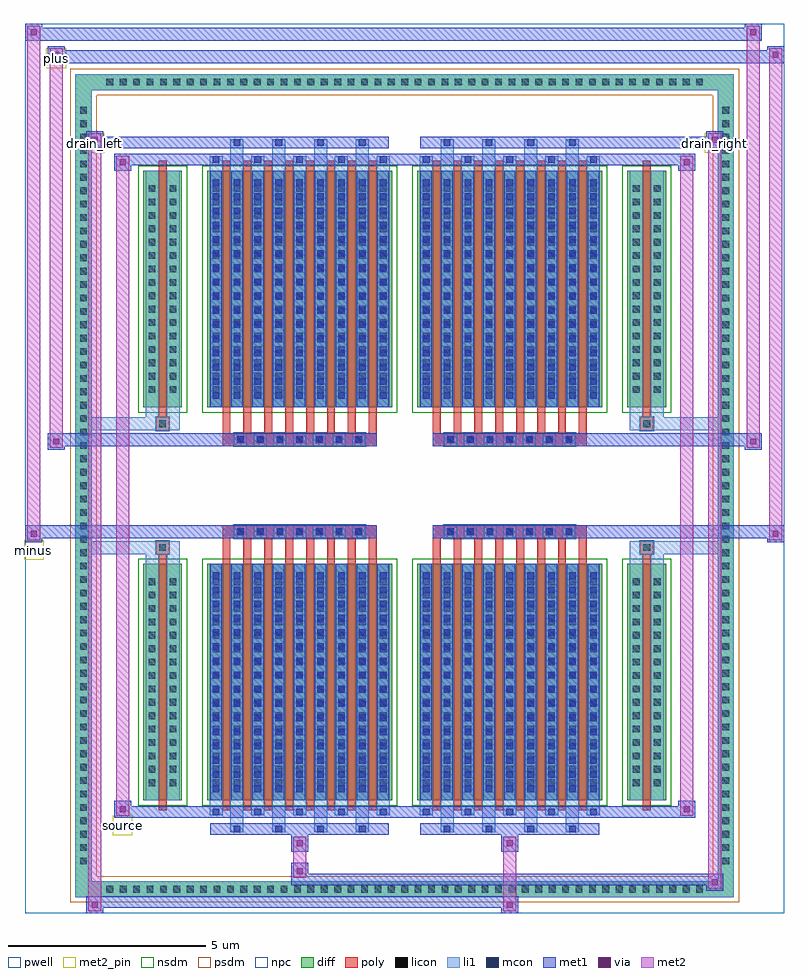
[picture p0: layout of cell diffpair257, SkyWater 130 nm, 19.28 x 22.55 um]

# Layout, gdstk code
import gdstk
lib = gdstk.Library(unit=1e-6, precision=5e-09)
def R(c, l, rs):  # rectangles x0, y0, x1, y1
    for r in rs: c.add(gdstk.rectangle(r[:2], r[2:], *l))
def A(c, l, x, y, w, h, nx, ny, dx, dy):  # array of equal rectangles
    R(c, l, [(x+i*dx, y+j*dy, x+i*dx+w, y+j*dy+h) for i in range(nx) for j in range(ny)])
def P(c, l, *ps):  # polygons
    for p in ps: c.add(gdstk.Polygon(p, *l))
pwell = (64, 44)
diff = (65, 20)
poly = (66, 20)
licon = (66, 44)
li1 = (67, 20)
mcon = (67, 44)
met1 = (68, 20)
via = (68, 44)
met2_pin = (69, 16)
met2 = (69, 20)
nsdm = (93, 44)
psdm = (94, 20)
npc = (95, 20)

diffpair257 = lib.new_cell('diffpair257')
R(diffpair257, pwell, [(-9.62,-10.84,9.62,11.71), (-6.94,-9.03,-0.01,-0.805), (0.01,-9.03,6.94,-0.805), (-6.94,0.805,-0.01,9.03), (0.01,0.805,6.94,9.03)])
A(diffpair257, diff, -7.685, -10.44, 0.41, 0.41, 45, 2, 0.34, 20.47)
A(diffpair257, diff, -8.35, -9.725, 0.41, 0.41, 1, 57, 0, 0.34)
A(diffpair257, diff, 7.94, -9.725, 0.41, 0.41, 1, 57, 0, 0.34)
R(diffpair257, diff, [(-7.685,-10.44,7.685,-10.03), (-8.35,-9.725,-7.94,9.725), (7.94,-9.725,8.35,9.725), (-6.63,-7.985,-5.65,-1.985), (-5.01,-7.985,-0.32,-1.985), (0.32,-7.985,5.01,-1.985), (5.65,-7.985,6.63,-1.985), (-6.63,1.985,-5.65,7.985), (-5.01,1.985,-0.32,7.985), (0.32,1.985,5.01,7.985), (5.65,1.985,6.63,7.985), (-7.685,10.03,7.685,10.44)])
P(diffpair257, diff, [(8.35,10.44),(-8.35,10.44),(-8.35,-10.03),(-7.94,-10.03),(-7.94,10.03),(7.94,10.03),(7.94,-10.03),(-7.94,-10.03),(-8.35,-10.03),(-8.35,-10.44),(8.35,-10.44)])
A(diffpair257, poly, -4.62, -8.235, 0.2, 6.5, 8, 2, 0.53, 9.97)
A(diffpair257, poly, 0.71, -8.235, 0.2, 6.5, 8, 2, 0.53, 9.97)
A(diffpair257, poly, -4.62, -1.735, 0.2, 0.4, 8, 2, 0.53, 3.07)
A(diffpair257, poly, 0.71, -1.735, 0.2, 0.4, 8, 2, 0.53, 3.07)
A(diffpair257, poly, -4.33, -1.335, 0.33, 0.33, 7, 2, 0.5, 2.34)
A(diffpair257, poly, 1, -1.335, 0.33, 0.33, 7, 2, 0.5, 2.34)
R(diffpair257, poly, [(-6.24,-8.235,-6.04,-1.735), (6.04,-8.235,6.24,-1.735), (-6.305,-1.735,-5.975,-1.405), (-6.305,-1.735,-5.975,-1.405), (5.975,-1.735,6.305,-1.405), (5.975,-1.735,6.305,-1.405), (-4.62,-1.335,-0.71,-1.005), (0.71,-1.335,4.62,-1.005), (-4.62,1.005,-0.71,1.335), (0.71,1.005,4.62,1.335), (-6.305,1.405,-5.975,1.735), (-6.305,1.405,-5.975,1.735), (5.975,1.405,6.305,1.735), (5.975,1.405,6.305,1.735), (-6.24,1.735,-6.04,8.235), (6.04,1.735,6.24,8.235)])
A(diffpair257, licon, -7.565, -10.32, 0.17, 0.17, 45, 2, 0.34, 20.47)
A(diffpair257, licon, -8.23, -9.605, 0.17, 0.17, 1, 57, 0, 0.34)
A(diffpair257, licon, 8.06, -9.605, 0.17, 0.17, 1, 57, 0, 0.34)
A(diffpair257, licon, -6.49, -7.62, 0.17, 0.17, 1, 16, 0, 0.34)
A(diffpair257, licon, -5.96, -7.62, 0.17, 0.17, 1, 16, 0, 0.34)
A(diffpair257, licon, -4.87, -7.62, 0.17, 0.17, 9, 16, 0.53, 0.34)
A(diffpair257, licon, 0.46, -7.62, 0.17, 0.17, 9, 16, 0.53, 0.34)
A(diffpair257, licon, 5.79, -7.62, 0.17, 0.17, 1, 16, 0, 0.34)
A(diffpair257, licon, 6.32, -7.62, 0.17, 0.17, 1, 16, 0, 0.34)
A(diffpair257, licon, -4.25, -1.255, 0.17, 0.17, 7, 2, 0.5, 2.34)
A(diffpair257, licon, 1.08, -1.255, 0.17, 0.17, 7, 2, 0.5, 2.34)
A(diffpair257, licon, -6.49, 2.35, 0.17, 0.17, 1, 16, 0, 0.34)
A(diffpair257, licon, -5.96, 2.35, 0.17, 0.17, 1, 16, 0, 0.34)
A(diffpair257, licon, -4.87, 2.35, 0.17, 0.17, 9, 16, 0.53, 0.34)
A(diffpair257, licon, 0.46, 2.35, 0.17, 0.17, 9, 16, 0.53, 0.34)
A(diffpair257, licon, 5.79, 2.35, 0.17, 0.17, 1, 16, 0, 0.34)
A(diffpair257, licon, 6.32, 2.35, 0.17, 0.17, 1, 16, 0, 0.34)
R(diffpair257, licon, [(-6.225,-1.655,-6.055,-1.485), (6.055,-1.655,6.225,-1.485), (-6.225,1.485,-6.055,1.655), (6.055,1.485,6.225,1.655)])
A(diffpair257, li1, -7.645, -10.4, 0.33, 0.33, 45, 2, 0.34, 20.47)
A(diffpair257, li1, -8.31, -9.685, 0.33, 0.33, 1, 57, 0, 0.34)
A(diffpair257, li1, 7.98, -9.685, 0.33, 0.33, 1, 57, 0, 0.34)
A(diffpair257, li1, -4.42, -8.79, 0.33, 0.805, 4, 2, 1.06, 16.775)
A(diffpair257, li1, -4.34, -8.79, 0.17, 0.17, 4, 2, 1.06, 17.41)
A(diffpair257, li1, 0.91, -8.79, 0.33, 0.805, 4, 2, 1.06, 16.775)
A(diffpair257, li1, 0.99, -8.79, 0.17, 0.17, 4, 2, 1.06, 17.41)
A(diffpair257, li1, -4.95, -8.36, 0.33, 0.375, 5, 2, 1.06, 16.345)
A(diffpair257, li1, -4.87, -8.36, 0.17, 0.17, 5, 2, 1.06, 16.55)
A(diffpair257, li1, 0.38, -8.36, 0.33, 0.375, 5, 2, 1.06, 16.345)
A(diffpair257, li1, 0.46, -8.36, 0.17, 0.17, 5, 2, 1.06, 16.55)
A(diffpair257, li1, -4.95, -7.985, 0.33, 6, 9, 2, 0.53, 9.97)
A(diffpair257, li1, 0.38, -7.985, 0.33, 6, 9, 2, 0.53, 9.97)
A(diffpair257, li1, -4.87, -7.77, 0.17, 0.17, 9, 16, 0.53, 0.36)
A(diffpair257, li1, -4.87, -7.77, 0.17, 5.57, 9, 2, 0.53, 9.97)
A(diffpair257, li1, 0.46, -7.77, 0.17, 0.17, 9, 16, 0.53, 0.36)
A(diffpair257, li1, 0.46, -7.77, 0.17, 5.57, 9, 2, 0.53, 9.97)
A(diffpair257, li1, -6.57, -7.7, 0.33, 0.33, 1, 16, 0, 0.34)
A(diffpair257, li1, -6.04, -7.7, 0.33, 0.33, 1, 16, 0, 0.34)
A(diffpair257, li1, -4.95, -7.7, 0.33, 0.33, 9, 16, 0.53, 0.34)
A(diffpair257, li1, 0.38, -7.7, 0.33, 0.33, 9, 16, 0.53, 0.34)
A(diffpair257, li1, 5.71, -7.7, 0.33, 0.33, 1, 16, 0, 0.34)
A(diffpair257, li1, 6.24, -7.7, 0.33, 0.33, 1, 16, 0, 0.34)
A(diffpair257, li1, -4.33, -1.335, 0.33, 0.33, 7, 2, 0.5, 2.34)
A(diffpair257, li1, 1, -1.335, 0.33, 0.33, 7, 2, 0.5, 2.34)
A(diffpair257, li1, -4.87, 2.2, 0.17, 0.17, 9, 16, 0.53, 0.36)
A(diffpair257, li1, 0.46, 2.2, 0.17, 0.17, 9, 16, 0.53, 0.36)
A(diffpair257, li1, -6.57, 2.27, 0.33, 0.33, 1, 16, 0, 0.34)
A(diffpair257, li1, -6.04, 2.27, 0.33, 0.33, 1, 16, 0, 0.34)
A(diffpair257, li1, -4.95, 2.27, 0.33, 0.33, 9, 16, 0.53, 0.34)
A(diffpair257, li1, 0.38, 2.27, 0.33, 0.33, 9, 16, 0.53, 0.34)
A(diffpair257, li1, 5.71, 2.27, 0.33, 0.33, 1, 16, 0, 0.34)
A(diffpair257, li1, 6.24, 2.27, 0.33, 0.33, 1, 16, 0, 0.34)
R(diffpair257, li1, [(-8.35,-10.44,-7.94,-10.03), (-8.35,-10.44,-7.94,-10.03), (-7.94,-10.44,7.94,-10.03), (7.94,-10.44,8.35,-10.03), (7.94,-10.44,8.35,-10.03), (-8.35,-10.03,-7.94,10.03), (7.94,-10.03,8.35,10.03), (-6.57,-7.985,-6.24,-1.985), (-6.04,-7.985,-5.71,-1.985), (5.71,-7.985,6.04,-1.985), (6.24,-7.985,6.57,-1.985), (-6.57,-1.985,-6.24,-1.405), (-6.04,-1.985,-5.71,-1.405), (5.71,-1.985,6.04,-1.405), (6.24,-1.985,6.57,-1.405), (-8.35,-1.735,-6.305,-1.405), (-6.57,-1.735,-6.305,-1.405), (-6.305,-1.735,-5.975,-1.405), (-5.975,-1.735,-5.71,-1.405), (5.71,-1.735,5.975,-1.405), (5.975,-1.735,6.305,-1.405), (5.975,-1.735,8.35,-1.405), (6.305,-1.735,6.57,-1.405), (-8.35,1.405,-6.305,1.735), (-6.57,1.405,-6.305,1.735), (-6.57,1.405,-6.24,1.985), (-6.305,1.405,-5.975,1.735), (-6.04,1.405,-5.71,1.985), (-5.975,1.405,-5.71,1.735), (5.71,1.405,5.975,1.735), (5.71,1.405,6.04,1.985), (5.975,1.405,6.305,1.735), (5.975,1.405,8.35,1.735), (6.24,1.405,6.57,1.985), (6.305,1.405,6.57,1.735), (-6.57,1.985,-6.24,7.985), (-6.04,1.985,-5.71,7.985), (5.71,1.985,6.04,7.985), (6.24,1.985,6.57,7.985), (-8.35,10.03,-7.94,10.44), (-8.35,10.03,-7.94,10.44), (-7.94,10.03,7.94,10.44), (7.94,10.03,8.35,10.44), (7.94,10.03,8.35,10.44)])
A(diffpair257, mcon, -4.34, -8.79, 0.17, 0.17, 4, 2, 1.06, 17.41)
A(diffpair257, mcon, 0.99, -8.79, 0.17, 0.17, 4, 2, 1.06, 17.41)
A(diffpair257, mcon, -4.87, -8.36, 0.17, 0.17, 5, 2, 1.06, 16.55)
A(diffpair257, mcon, 0.46, -8.36, 0.17, 0.17, 5, 2, 1.06, 16.55)
A(diffpair257, mcon, -4.87, -7.77, 0.17, 0.17, 9, 16, 0.53, 0.36)
A(diffpair257, mcon, 0.46, -7.77, 0.17, 0.17, 9, 16, 0.53, 0.36)
A(diffpair257, mcon, -4.25, -1.255, 0.17, 0.17, 7, 2, 0.5, 2.34)
A(diffpair257, mcon, 1.08, -1.255, 0.17, 0.17, 7, 2, 0.5, 2.34)
A(diffpair257, mcon, -4.87, 2.2, 0.17, 0.17, 9, 16, 0.53, 0.36)
A(diffpair257, mcon, 0.46, 2.2, 0.17, 0.17, 9, 16, 0.53, 0.36)
A(diffpair257, met1, -4.4, -8.85, 0.29, 0.29, 4, 2, 1.06, 17.41)
A(diffpair257, met1, 0.93, -8.85, 0.29, 0.29, 4, 2, 1.06, 17.41)
A(diffpair257, met1, -4.93, -8.42, 0.29, 0.29, 5, 2, 1.06, 16.55)
A(diffpair257, met1, 0.4, -8.42, 0.29, 0.29, 5, 2, 1.06, 16.55)
A(diffpair257, met1, -4.93, -7.985, 0.29, 6, 9, 2, 0.53, 9.97)
A(diffpair257, met1, 0.4, -7.985, 0.29, 6, 9, 2, 0.53, 9.97)
A(diffpair257, met1, -4.93, -7.83, 0.29, 0.29, 9, 16, 0.53, 0.36)
A(diffpair257, met1, 0.4, -7.83, 0.29, 0.29, 9, 16, 0.53, 0.36)
A(diffpair257, met1, -4.31, -1.315, 0.29, 0.29, 7, 2, 0.5, 2.34)
A(diffpair257, met1, 1.02, -1.315, 0.29, 0.29, 7, 2, 0.5, 2.34)
A(diffpair257, met1, -4.93, 2.14, 0.29, 0.29, 9, 16, 0.53, 0.36)
A(diffpair257, met1, 0.4, 2.14, 0.29, 0.29, 9, 16, 0.53, 0.36)
R(diffpair257, met1, [(-8.08,-10.84,-7.65,-10.41), (2.45,-10.84,2.88,-10.41), (-8.08,-10.7,2.88,-10.41), (7.65,-10.27,8.08,-9.84), (-2.88,-10.13,8.08,-9.84), (-2.88,-9.99,-2.45,-9.56), (-2.88,-9.28,-2.45,-8.85), (2.45,-9.28,2.88,-8.85), (-4.93,-8.85,-0.4,-8.56), (0.4,-8.85,4.93,-8.56), (-7.37,-8.42,-6.94,-7.99), (-7.37,-8.42,-4.93,-8.13), (-4.93,-8.42,-0.4,-8.13), (-0.4,-8.42,0.4,-8.13), (0.4,-8.42,4.93,-8.13), (4.93,-8.42,7.37,-8.13), (6.94,-8.42,7.37,-7.99), (-9.62,-1.435,-9.19,-1.005), (9.19,-1.435,9.62,-1.005), (-9.62,-1.335,-0.71,-1.005), (-4.62,-1.335,-0.71,-1.005), (0.71,-1.335,4.62,-1.005), (0.71,-1.335,9.62,-1.005), (-9.05,0.905,-8.62,1.335), (8.62,0.905,9.05,1.335), (-9.05,1.005,-4.62,1.335), (-4.62,1.005,-0.71,1.335), (0.71,1.005,4.62,1.335), (4.62,1.005,9.05,1.335), (-7.37,7.99,-6.94,8.42), (6.94,7.99,7.37,8.42), (-7.37,8.13,-4.93,8.42), (-4.93,8.13,-0.4,8.42), (-0.4,8.13,0.4,8.42), (0.4,8.13,4.93,8.42), (4.93,8.13,7.37,8.42), (-8.08,8.56,-7.65,8.99), (-8.08,8.56,-4.93,8.85), (-4.93,8.56,-0.4,8.85), (0.4,8.56,4.93,8.85), (4.93,8.56,8.08,8.85), (7.65,8.56,8.08,8.99), (-9.05,10.71,-8.62,11.14), (-9.05,10.71,-6.94,11.04), (-6.94,10.71,6.94,11.04), (6.94,10.71,9.62,11.04), (9.19,10.71,9.62,11.14), (-9.62,11.28,-9.19,11.71), (-9.62,11.28,-6.94,11.61), (-6.94,11.28,6.94,11.61), (6.94,11.28,9.05,11.61), (8.62,11.28,9.05,11.71)])
R(diffpair257, via, [(-7.94,-10.7,-7.79,-10.55), (2.59,-10.7,2.74,-10.55), (7.79,-10.13,7.94,-9.98), (-2.74,-9.85,-2.59,-9.7), (-2.74,-9.14,-2.59,-8.99), (2.59,-9.14,2.74,-8.99), (-7.23,-8.28,-7.08,-8.13), (7.08,-8.28,7.23,-8.13), (-9.48,-1.295,-9.33,-1.145), (9.33,-1.295,9.48,-1.145), (-8.91,1.045,-8.76,1.195), (8.76,1.045,8.91,1.195), (-7.23,8.13,-7.08,8.28), (7.08,8.13,7.23,8.28), (-7.94,8.7,-7.79,8.85), (7.79,8.7,7.94,8.85), (-8.91,10.85,-8.76,11), (9.33,10.85,9.48,11), (-9.48,11.42,-9.33,11.57), (8.76,11.42,8.91,11.57)])
R(diffpair257, met2_pin, [(-7.405,-8.87,-6.905,-8.37), (-9.655,-1.885,-9.155,-1.385), (-8.115,8.44,-7.615,8.94), (7.615,8.44,8.115,8.94), (-9.085,10.59,-8.585,11.09)])
R(diffpair257, met2, [(-8.03,-10.79,-7.7,-10.46), (-8.03,-10.79,-7.7,8.94), (2.5,-10.79,2.83,-10.46), (2.5,-10.46,2.83,-9.23), (7.7,-10.22,8.03,-9.89), (7.7,-10.22,8.03,8.94), (-2.83,-9.94,-2.5,-9.61), (-2.83,-9.61,-2.5,-9.23), (-2.83,-9.23,-2.5,-8.9), (2.5,-9.23,2.83,-8.9), (-7.32,-8.37,-6.99,-8.04), (-7.32,-8.37,-6.99,8.37), (6.99,-8.37,7.32,-8.04), (6.99,-8.37,7.32,8.37), (-9.57,-1.385,-9.24,-1.055), (-9.57,-1.385,-9.24,11.66), (9.24,-1.385,9.57,-1.055), (9.24,-1.385,9.57,11.09), (-9,0.955,-8.67,1.285), (-9,0.955,-8.67,11.09), (8.67,0.955,9,1.285), (8.67,0.955,9,11.66), (-7.32,8.04,-6.99,8.37), (6.99,8.04,7.32,8.37), (-8.03,8.61,-7.7,8.94), (7.7,8.61,8.03,8.94), (-9,10.76,-8.67,11.09), (9.24,10.76,9.57,11.09), (-9.57,11.33,-9.24,11.66), (8.67,11.33,9,11.66)])
P(diffpair257, met2, [(9.57,-1.385),(9.57,-1.385),(9.57,-1.055),(9.57,-1.055)],
  [(9.57,10.76),(9.57,10.76),(9.57,11.09),(9.57,11.09)],
  [(-9.24,-1.385),(-9.24,-1.385),(-9.24,-1.055),(-9.24,-1.055)],
  [(-9.24,11.33),(-9.24,11.33),(-9.24,11.66),(-9.24,11.66)],
  [(9,0.955),(9,0.955),(9,1.285),(9,1.285)],
  [(9,11.33),(9,11.33),(9,11.66),(9,11.66)],
  [(-8.67,0.955),(-8.67,0.955),(-8.67,1.285),(-8.67,1.285)],
  [(-8.67,10.76),(-8.67,10.76),(-8.67,11.09),(-8.67,11.09)],
  [(-7.7,-10.79),(-7.7,-10.79),(-7.7,-10.46),(-7.7,-10.46)],
  [(-7.7,8.61),(-7.7,8.61),(-7.7,8.94),(-7.7,8.94)],
  [(8.03,-10.22),(8.03,-10.22),(8.03,-9.89),(8.03,-9.89)],
  [(8.03,8.61),(8.03,8.61),(8.03,8.94),(8.03,8.94)],
  [(-6.99,-8.37),(-6.99,-8.37),(-6.99,-8.04),(-6.99,-8.04)],
  [(-6.99,8.04),(-6.99,8.04),(-6.99,8.37),(-6.99,8.37)],
  [(7.32,-8.37),(7.32,-8.37),(7.32,-8.04),(7.32,-8.04)],
  [(7.32,8.04),(7.32,8.04),(7.32,8.37),(7.32,8.37)])
R(diffpair257, nsdm, [(-6.76,-8.115,-5.52,-1.855), (-5.14,-8.115,-0.19,-1.855), (0.19,-8.115,5.14,-1.855), (5.52,-8.115,6.76,-1.855), (-6.76,1.855,-5.52,8.115), (-5.14,1.855,-0.19,8.115), (0.19,1.855,5.14,8.115), (5.52,1.855,6.76,8.115)])
P(diffpair257, psdm, [(8.48,10.57),(-8.48,10.57),(-8.48,-9.9),(-7.81,-9.9),(-7.81,9.9),(7.81,9.9),(7.81,-9.9),(-7.81,-9.9),(-8.48,-9.9),(-8.48,-10.57),(8.48,-10.57)])
A(diffpair257, npc, -4.35, -1.355, 0.37, 0.37, 7, 2, 0.5, 2.34)
A(diffpair257, npc, 0.98, -1.355, 0.37, 0.37, 7, 2, 0.5, 2.34)
R(diffpair257, npc, [(-6.325,-1.755,-5.955,-1.385), (5.955,-1.755,6.325,-1.385), (-4.35,-1.355,-3.48,-0.985), (-4.35,-1.355,-3.48,-0.985), (-3.85,-1.355,-2.98,-0.985), (-3.85,-1.355,-2.98,-0.985), (-3.35,-1.355,-2.48,-0.985), (-3.35,-1.355,-2.48,-0.985), (-2.85,-1.355,-1.98,-0.985), (-2.85,-1.355,-1.98,-0.985), (-2.35,-1.355,-1.48,-0.985), (-2.35,-1.355,-1.48,-0.985), (-1.85,-1.355,-0.98,-0.985), (-1.85,-1.355,-0.98,-0.985), (0.98,-1.355,1.85,-0.985), (0.98,-1.355,1.85,-0.985), (1.48,-1.355,2.35,-0.985), (1.48,-1.355,2.35,-0.985), (1.98,-1.355,2.85,-0.985), (1.98,-1.355,2.85,-0.985), (2.48,-1.355,3.35,-0.985), (2.48,-1.355,3.35,-0.985), (2.98,-1.355,3.85,-0.985), (2.98,-1.355,3.85,-0.985), (3.48,-1.355,4.35,-0.985), (3.48,-1.355,4.35,-0.985), (-4.35,0.985,-3.48,1.355), (-4.35,0.985,-3.48,1.355), (-3.85,0.985,-2.98,1.355), (-3.85,0.985,-2.98,1.355), (-3.35,0.985,-2.48,1.355), (-3.35,0.985,-2.48,1.355), (-2.85,0.985,-1.98,1.355), (-2.85,0.985,-1.98,1.355), (-2.35,0.985,-1.48,1.355), (-2.35,0.985,-1.48,1.355), (-1.85,0.985,-0.98,1.355), (-1.85,0.985,-0.98,1.355), (0.98,0.985,1.85,1.355), (0.98,0.985,1.85,1.355), (1.48,0.985,2.35,1.355), (1.48,0.985,2.35,1.355), (1.98,0.985,2.85,1.355), (1.98,0.985,2.85,1.355), (2.48,0.985,3.35,1.355), (2.48,0.985,3.35,1.355), (2.98,0.985,3.85,1.355), (2.98,0.985,3.85,1.355), (3.48,0.985,4.35,1.355), (3.48,0.985,4.35,1.355), (-6.325,1.385,-5.955,1.755), (5.955,1.385,6.325,1.755)])
diffpair257.add(gdstk.Label('minus', (-9.405,-1.635), layer=69, texttype=5))
diffpair257.add(gdstk.Label('drain_right', (7.865,8.69), layer=69, texttype=5))
diffpair257.add(gdstk.Label('drain_left', (-7.865,8.69), layer=69, texttype=5))
diffpair257.add(gdstk.Label('source', (-7.155,-8.62), layer=69, texttype=5))
diffpair257.add(gdstk.Label('plus', (-8.835,10.84), layer=69, texttype=5))

lib.write_gds('diffpair257.gds')
